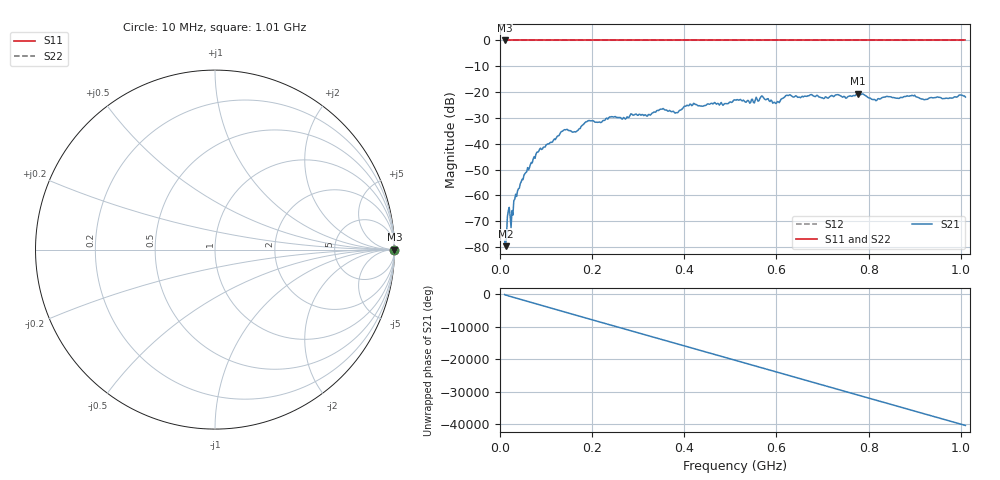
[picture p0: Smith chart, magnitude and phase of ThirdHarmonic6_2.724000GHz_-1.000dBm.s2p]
! 8/17/2025 6:39:41 AM
! C:\ANRITSUVNA\TEMP\TEMP.S2P
! CHANNEL.1
! TR.MEASUREMENT
! RAW.DATA
! RF.CORRECTION.OFF
! AVERAGING.OFF
! IF.BANDWIDTH: 5KHZ
! SWEEPTYPE:  FREQ.SWEEP(Linear)
! Reference Plane Port Info
! PORT:  PORT1  PORT2
! DISTANCE:  0  m  0  m
! TIME:  0  s  0  s
! PHASE.OFFSET:  0  deg.  0  deg.
! LOSS:  0  dB  0  dB
! REF.LOSS:  0  dB  0  dB
! REF.FREQ:  0  Hz  0  Hz
! Power Info
! POWER:  -20  dBm  -20  dBm
! EFF.POWER:  -20  dBm  -20  dBm
! SOURCE.ATTEN:  0  dB  0  dB
! TEST.ATTEN:  0  dB  0  dB
# GHZ S RI R 50.0
! FREQ.GHZ  S11RE  S11IM  S21RE  S21IM  S12RE  S12IM  S22RE  S22IM
!; PortSelection: Port_12
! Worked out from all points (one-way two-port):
!   501 points, 10 MHz to 1.01 GHz, reference 50 ohm
!   highest |S21| = -20.58 dB at 776 MHz (marker M1); lowest = -79.7 dB at 12 MHz (marker M2)
!   lowest |S11| = 0.0 dB at 10 MHz (marker M3)
!   |S11| at or under -10 dB: nowhere
!   |S22| runs from 0.0 to 0.0 dB; largest |S21 - S12| = 1.1
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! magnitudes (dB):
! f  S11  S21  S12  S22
! 10 MHz  0.0  -77.5  0.0  0.0
! 12 MHz  0.0  -79.7  0.0  0.0
! 18 MHz  0.0  -66.0  0.0  0.0
! 26 MHz  0.0  -65.9  0.0  0.0
! 34 MHz  0.0  -59.5  0.0  0.0
! 56 MHz  0.0  -51.2  0.0  0.0
! 82 MHz  0.0  -43.3  0.0  0.0
! 136 MHz  0.0  -35.1  0.0  0.0
! 162 MHz  0.0  -35.4  0.0  0.0
! 178 MHz  0.0  -33.0  0.0  0.0
! 344 MHz  0.0  -27.2  0.0  0.0
! 382 MHz  0.0  -27.9  0.0  0.0
! 410 MHz  0.0  -25.2  0.0  0.0
! 510 MHz  0.0  -23.0  0.0  0.0
! 568 MHz  0.0  -21.5  0.0  0.0
! 596 MHz  0.0  -23.9  0.0  0.0
! 624 MHz  0.0  -21.3  0.0  0.0
! 678 MHz  0.0  -21.2  0.0  0.0
! 776 MHz  0.0  -20.6  0.0  0.0
! 814 MHz  0.0  -23.0  0.0  0.0
! 844 MHz  0.0  -21.8  0.0  0.0
! 1.01 GHz  0.0  -21.9  0.0  0.0
